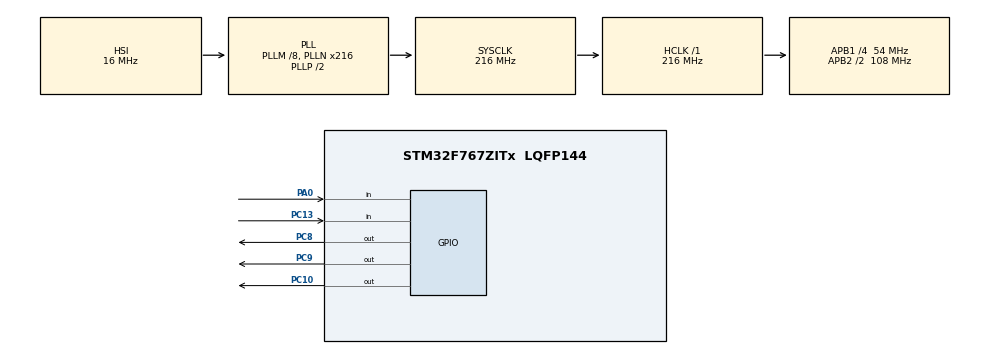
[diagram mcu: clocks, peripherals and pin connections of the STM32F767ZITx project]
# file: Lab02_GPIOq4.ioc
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Mcu.Family=STM32F7
Mcu.Name=STM32F767ZITx
Mcu.Package=LQFP144
NVIC.PriorityGroup=NVIC_PRIORITYGROUP_4
PA0/WKUP.GPIO_PuPd=GPIO_PULLUP
PA0/WKUP.Signal=GPIO_Input
PC10.Signal=GPIO_Output
PC13.Signal=GPIO_Input
PC8.Signal=GPIO_Output
PC9.Signal=GPIO_Output
ProjectManager.HeapSize=0x200
ProjectManager.StackSize=0x400
ProjectManager.TargetToolchain=MDK-ARM V5
RCC.AHBFreq_Value=216000000
RCC.APB1CLKDivider=RCC_HCLK_DIV4
RCC.APB1Freq_Value=54000000
RCC.APB1TimFreq_Value=108000000
RCC.APB2CLKDivider=RCC_HCLK_DIV2
RCC.APB2Freq_Value=108000000
RCC.APB2TimFreq_Value=216000000
RCC.CortexFreq_Value=216000000
RCC.HCLKFreq_Value=216000000
RCC.HSE_VALUE=25000000
RCC.HSI_VALUE=16000000
RCC.LSE_VALUE=32768
RCC.PLLM=8
RCC.PLLN=216
RCC.SYSCLKFreq_VALUE=216000000
RCC.SYSCLKSource=RCC_SYSCLKSOURCE_PLLCLK
RCC.USBFreq_Value=216000000
RCC.VCOOutputFreq_Value=432000000
board=custom

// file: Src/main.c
/* USER CODE BEGIN Header */
/**
  ******************************************************************************
  * @file           : main.c
  * @brief          : Main program body
  ******************************************************************************
  * @attention
  *
  * <h2><center>&copy; Copyright (c) 2019 STMicroelectronics.
  * All rights reserved.</center></h2>
  *
  * This software component is licensed by ST under BSD 3-Clause license,
  * the "License"; You may not use this file except in compliance with the
  * License. You may obtain a copy of the License at:
  *                        opensource.org/licenses/BSD-3-Clause
  *
  ******************************************************************************
  */
/* USER CODE END Header */

#include "main.h"
#include "gpio.h"

/* USER CODE BEGIN PV */
uint8_t n[3];
uint8_t state;
/* USER CODE END PV */

void SystemClock_Config(void);

int main(void)
{

  /* MCU Configuration--------------------------------------------------------*/

  /* Reset of all peripherals, Initializes the Flash interface and the Systick. */
  HAL_Init();

  /* Configure the system clock */
  SystemClock_Config();

  /* Initialize all configured peripherals */
  MX_GPIO_Init();
  /* USER CODE BEGIN 2 */
	state = 0;
  /* USER CODE END 2 */

  /* Infinite loop */
  while (1)
  {

    /* USER CODE BEGIN 3 */
		n[0] = (GPIOC->ODR >>8) &0x1;
		n[1] = (GPIOC->ODR >>9) &0x1;
		n[2] = (GPIOC->ODR >>10) &0x1;
		if(state == 0 && HAL_GPIO_ReadPin(GPIOA, GPIO_PIN_0) == GPIO_PIN_RESET)
		{
			HAL_GPIO_WritePin(GPIOC, GPIO_PIN_8, GPIO_PIN_SET);
			HAL_GPIO_WritePin(GPIOC, GPIO_PIN_9, GPIO_PIN_RESET);
			HAL_GPIO_WritePin(GPIOC, GPIO_PIN_10, GPIO_PIN_RESET);
			n[0] = (GPIOC->ODR >>8) &0x1;
			n[1] = (GPIOC->ODR >>9) &0x1;
			n[2] = (GPIOC->ODR >>10) &0x1;
			while(HAL_GPIO_ReadPin(GPIOA, GPIO_PIN_0) == GPIO_PIN_RESET);
			HAL_Delay(100);
			state++;
		}
		else if(state == 1 &&HAL_GPIO_ReadPin(GPIOA, GPIO_PIN_0) == GPIO_PIN_RESET)
		{
			HAL_GPIO_WritePin(GPIOC, GPIO_PIN_8, GPIO_PIN_RESET);
			HAL_GPIO_WritePin(GPIOC, GPIO_PIN_9, GPIO_PIN_SET);
			HAL_GPIO_WritePin(GPIOC, GPIO_PIN_10, GPIO_PIN_RESET);
			n[0] = (GPIOC->ODR >>8) &0x1;
			n[1] = (GPIOC->ODR >>9) &0x1;
			n[2] = (GPIOC->ODR >>10) &0x1;
			while(HAL_GPIO_ReadPin(GPIOA, GPIO_PIN_0) == GPIO_PIN_RESET);
			HAL_Delay(100);
			state++;
		}
		else if(state == 2 &&HAL_GPIO_ReadPin(GPIOA, GPIO_PIN_0) == GPIO_PIN_RESET)
		{
			HAL_GPIO_WritePin(GPIOC, GPIO_PIN_8, GPIO_PIN_RESET);
			HAL_GPIO_WritePin(GPIOC, GPIO_PIN_9, GPIO_PIN_RESET);
			HAL_GPIO_WritePin(GPIOC, GPIO_PIN_10, GPIO_PIN_SET);
			n[0] = (GPIOC->ODR >>8) &0x1;
			n[1] = (GPIOC->ODR >>9) &0x1;
			n[2] = (GPIOC->ODR >>10) &0x1;
			while(HAL_GPIO_ReadPin(GPIOA, GPIO_PIN_0) == GPIO_PIN_RESET);
			HAL_Delay(100);
			state = 0;
		}

		if(HAL_GPIO_ReadPin(GPIOC, GPIO_PIN_13) == GPIO_PIN_SET)
		{
			HAL_GPIO_WritePin(GPIOC, GPIO_PIN_8, GPIO_PIN_RESET);
			HAL_GPIO_WritePin(GPIOC, GPIO_PIN_9, GPIO_PIN_RESET);
			HAL_GPIO_WritePin(GPIOC, GPIO_PIN_10, GPIO_PIN_SET);
			n[0] = (GPIOC->ODR >>8) &0x1;
			n[1] = (GPIOC->ODR >>9) &0x1;
			n[2] = (GPIOC->ODR >>10) &0x1;
			HAL_Delay(500);
			HAL_GPIO_WritePin(GPIOC, GPIO_PIN_8, GPIO_PIN_RESET);
			HAL_GPIO_WritePin(GPIOC, GPIO_PIN_9, GPIO_PIN_SET);
			HAL_GPIO_WritePin(GPIOC, GPIO_PIN_10, GPIO_PIN_RESET);
			n[0] = (GPIOC->ODR >>8) &0x1;
			n[1] = (GPIOC->ODR >>9) &0x1;
			n[2] = (GPIOC->ODR >>10) &0x1;
			HAL_Delay(500);
			HAL_GPIO_WritePin(GPIOC, GPIO_PIN_8, GPIO_PIN_SET);
			HAL_GPIO_WritePin(GPIOC, GPIO_PIN_9, GPIO_PIN_RESET);
			HAL_GPIO_WritePin(GPIOC, GPIO_PIN_10, GPIO_PIN_RESET);
			n[0] = (GPIOC->ODR >>8) &0x1;
			n[1] = (GPIOC->ODR >>9) &0x1;
			n[2] = (GPIOC->ODR >>10) &0x1;
			HAL_Delay(500);
			HAL_GPIO_WritePin(GPIOC, GPIO_PIN_8, GPIO_PIN_RESET);
			HAL_GPIO_WritePin(GPIOC, GPIO_PIN_9, GPIO_PIN_RESET);
			HAL_GPIO_WritePin(GPIOC, GPIO_PIN_10, GPIO_PIN_RESET);
			n[0] = (GPIOC->ODR >>8) &0x1;
			n[1] = (GPIOC->ODR >>9) &0x1;
			n[2] = (GPIOC->ODR >>10) &0x1;
			HAL_Delay(500);
			state = 0;
		}
		/*else if(state == 1 &&HAL_GPIO_ReadPin(GPIOC, GPIO_PIN_13) == GPIO_PIN_SET)
		{

		}
		else if(state == 2 &&HAL_GPIO_ReadPin(GPIOC, GPIO_PIN_13) == GPIO_PIN_SET)
		{

		}*/
  }
  /* USER CODE END 3 */
}

void SystemClock_Config(void)
{
  RCC_OscInitTypeDef RCC_OscInitStruct = {0};
  RCC_ClkInitTypeDef RCC_ClkInitStruct = {0};

  /** Configure the main internal regulator output voltage
  */
  __HAL_RCC_PWR_CLK_ENABLE();
  __HAL_PWR_VOLTAGESCALING_CONFIG(PWR_REGULATOR_VOLTAGE_SCALE1);
  /** Initializes the CPU, AHB and APB busses clocks
  */
  RCC_OscInitStruct.OscillatorType = RCC_OSCILLATORTYPE_HSI;
  RCC_OscInitStruct.HSIState = RCC_HSI_ON;
  RCC_OscInitStruct.HSICalibrationValue = RCC_HSICALIBRATION_DEFAULT;
  RCC_OscInitStruct.PLL.PLLState = RCC_PLL_ON;
  RCC_OscInitStruct.PLL.PLLSource = RCC_PLLSOURCE_HSI;
  RCC_OscInitStruct.PLL.PLLM = 8;
  RCC_OscInitStruct.PLL.PLLN = 216;
  RCC_OscInitStruct.PLL.PLLP = RCC_PLLP_DIV2;
  RCC_OscInitStruct.PLL.PLLQ = 2;
  if (HAL_RCC_OscConfig(&RCC_OscInitStruct) != HAL_OK)
  {
    Error_Handler();
  }
  /** Activate the Over-Drive mode
  */
  if (HAL_PWREx_EnableOverDrive() != HAL_OK)
  {
    Error_Handler();
  }
  /** Initializes the CPU, AHB and APB busses clocks
  */
  RCC_ClkInitStruct.ClockType = RCC_CLOCKTYPE_HCLK|RCC_CLOCKTYPE_SYSCLK
                              |RCC_CLOCKTYPE_PCLK1|RCC_CLOCKTYPE_PCLK2;
  RCC_ClkInitStruct.SYSCLKSource = RCC_SYSCLKSOURCE_PLLCLK;
  RCC_ClkInitStruct.AHBCLKDivider = RCC_SYSCLK_DIV1;
  RCC_ClkInitStruct.APB1CLKDivider = RCC_HCLK_DIV4;
  RCC_ClkInitStruct.APB2CLKDivider = RCC_HCLK_DIV2;

  if (HAL_RCC_ClockConfig(&RCC_ClkInitStruct, FLASH_LATENCY_7) != HAL_OK)
  {
    Error_Handler();
  }
}

void Error_Handler(void)
{
}

/************************ (C) COPYRIGHT STMicroelectronics *****END OF FILE****/
